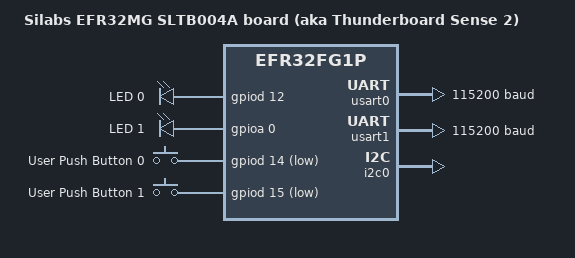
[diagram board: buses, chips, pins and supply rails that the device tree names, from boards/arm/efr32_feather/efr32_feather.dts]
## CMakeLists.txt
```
set(BOARD_ROOT ${CMAKE_SOURCE_DIR})
set(BOARD efr32_feather)

cmake_minimum_required(VERSION 3.13)
include($ENV{ZEPHYR_BASE}/cmake/app/boilerplate.cmake NO_POLICY_SCOPE)

project(efr32_feather)
target_sources(app PRIVATE src/main.c)
```

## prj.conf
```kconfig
CONFIG_GPIO=y
CONFIG_SERIAL=y
CONFIG_I2C=y
```

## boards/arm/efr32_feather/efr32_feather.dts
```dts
/*
 * Copyright (c) 2018 Diego Sueiro
 *
 * SPDX-License-Identifier: Apache-2.0
 */

/dts-v1/;
#include <silabs/efr32fg1p133f256gm48.dtsi>

/ {
	model = "Silabs EFR32MG SLTB004A board (aka Thunderboard Sense 2)";
	compatible = "silabs,efr32_feather", "silabs,efr32fg1p";

	aliases {
		led0 = &led0;
		led1 = &led1;
		sw0 = &button0;
		sw1 = &button1;
	};

	chosen {
		zephyr,console = &usart0;
		zephyr,shell-uart = &usart0;
		zephyr,sram = &sram0;
		zephyr,flash = &flash0;
	};

	leds {
		compatible = "gpio-leds";
		led0: led_0 {
			gpios = <&gpiod 12 0>;
			label = "LED 0";
		};
		led1: led_1 {
			gpios = <&gpioa 0 0>;
			label = "LED 1";
		};
	};

	buttons {
		compatible = "gpio-keys";
		button0: button_0 {
			/* gpio flags need validation */
			gpios = <&gpiod 14 GPIO_INT_ACTIVE_LOW>;
			label = "User Push Button 0";
		};
		button1: button_1 {
			/* gpio flags need validation */
			gpios = <&gpiod 15 GPIO_INT_ACTIVE_LOW>;
			label = "User Push Button 1";
		};
	};
};

&usart0 {
	current-speed = <115200>;
	location-rx = <GECKO_LOCATION(26) GECKO_PORT_F GECKO_PIN(3)>;
	location-tx = <GECKO_LOCATION(26) GECKO_PORT_F GECKO_PIN(2)>;
	status = "ok";
};

&usart1 {
	current-speed = <115200>;
	location-rx = <GECKO_LOCATION(27) GECKO_PORT_F GECKO_PIN(4)>;
	location-tx = <GECKO_LOCATION(29) GECKO_PORT_F GECKO_PIN(5)>;
	status = "ok";
};

&i2c0 {
	location-sda = <GECKO_LOCATION(18) GECKO_PORT_D GECKO_PIN(10)>;
	location-scl = <GECKO_LOCATION(18) GECKO_PORT_D GECKO_PIN(11)>;
	status = "ok";
};

&gpio {
	location-swo = <0>;
	status = "ok";
};
```

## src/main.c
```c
#include <zephyr.h>
#include <misc/printk.h>
#include <device.h>
#include <gpio.h>

void main(void)
{
	printk("Hello World! %s\n", CONFIG_BOARD);
	int cnt = 0;
	struct device *gpio_dev = device_get_binding(LED0_GPIO_CONTROLLER);
	/* Set LED pin as output */
	gpio_pin_configure(gpio_dev, LED0_GPIO_PIN, GPIO_DIR_OUT | GPIO_PUD_PULL_UP);

	struct device *gpio1_dev = device_get_binding(LED1_GPIO_CONTROLLER);
	/* Set LED pin as output */
	gpio_pin_configure(gpio1_dev, LED1_GPIO_PIN, GPIO_DIR_OUT);

	while (1) {
		/* Set pin to HIGH/LOW every 1 second */
		gpio_pin_write(gpio_dev, LED0_GPIO_PIN, cnt % 2);
		gpio_pin_write(gpio1_dev, LED1_GPIO_PIN, cnt % 2);
		cnt++;
		k_sleep(1000);
	}

}
```
